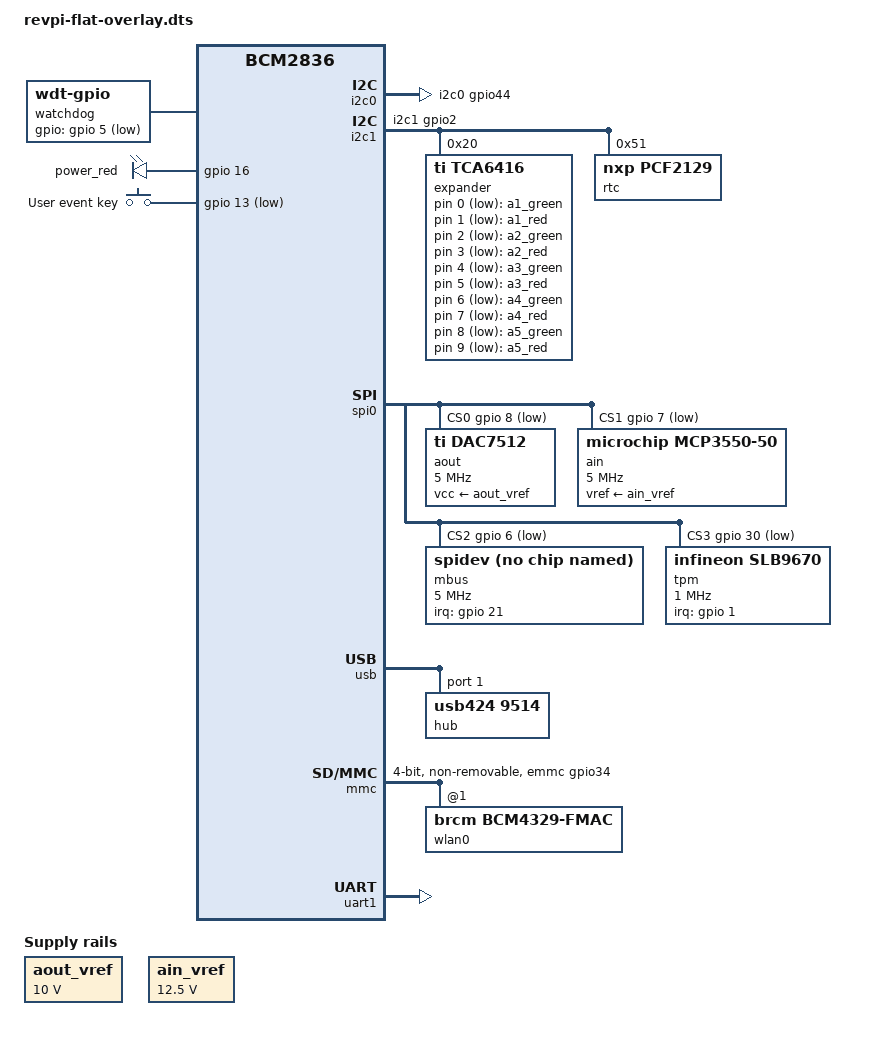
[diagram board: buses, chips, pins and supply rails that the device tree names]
/*
 * Device tree overlay for Revolution Pi by KUNBUS
 *
 * RevPi Flat
 */

/dts-v1/;
/plugin/;
#include <dt-bindings/gpio/gpio.h>
#include <dt-bindings/input/input.h>
#include <dt-bindings/interrupt-controller/irq.h>
#include <dt-bindings/pinctrl/bcm2835.h>

/{
	compatible = "brcm,bcm2837";

	fragment@0 {
		target-path = "/";
		__overlay__ {
			compatible = "kunbus,revpi-flat", "brcm,bcm2837",
				     "brcm,bcm2836";

			aout_vref: fixedregulator_2v5x4 {
				compatible = "regulator-fixed";
				regulator-name = "2v5_x4_amplified";
				regulator-min-microvolt = <10000000>;
				regulator-max-microvolt = <10000000>;
				regulator-always-on;
			};

			ain_vref: fixedregulator_2v5x5 {
				compatible = "regulator-fixed";
				regulator-name = "2v5_x5_amplified";
				regulator-min-microvolt = <12500000>;
				regulator-max-microvolt = <12500000>;
				regulator-always-on;
			};

			watchdog: watchdog {
				pinctrl-names = "default";
				pinctrl-0 = <&watchdog_gpio4>;
				compatible = "linux,wdt-gpio";	  /* max6370 */
				gpios = <&gpio 5 GPIO_ACTIVE_LOW>;
				hw_algo = "toggle";
				hw_margin_ms = <55000>;		  /* <= 60 s */
			};

			leds {
				compatible = "gpio-leds";
				power_red {
					gpios = <&gpio 16 GPIO_ACTIVE_HIGH>;
					linux,default-trigger = "power_red";
				};
				a1_green {
					gpios = <&expander 0 GPIO_ACTIVE_LOW>;
					linux,default-trigger = "a1_green";
				};
				a1_red {
					gpios = <&expander 1 GPIO_ACTIVE_LOW>;
					linux,default-trigger = "a1_red";
				};
				a2_green {
					gpios = <&expander 2 GPIO_ACTIVE_LOW>;
					linux,default-trigger = "a2_green";
				};
				a2_red {
					gpios = <&expander 3 GPIO_ACTIVE_LOW>;
					linux,default-trigger = "a2_red";
				};
				a3_green {
					gpios = <&expander 4 GPIO_ACTIVE_LOW>;
					linux,default-trigger = "a3_green";
				};
				a3_red {
					gpios = <&expander 5 GPIO_ACTIVE_LOW>;
					linux,default-trigger = "a3_red";
				};
				a4_green {
					gpios = <&expander 6 GPIO_ACTIVE_LOW>;
					linux,default-trigger = "a4_green";
				};
				a4_red {
					gpios = <&expander 7 GPIO_ACTIVE_LOW>;
					linux,default-trigger = "a4_red";
				};
				a5_green {
					gpios = <&expander 8 GPIO_ACTIVE_LOW>;
					linux,default-trigger = "a5_green";
				};
				a5_red {
					gpios = <&expander 9 GPIO_ACTIVE_LOW>;
					linux,default-trigger = "a5_red";
				};
				led-act {
					status = "disabled";
				};
			};

			gpio-keys {
				compatible = "gpio-keys";
				pinctrl-names = "default";
				pinctrl-0 = <&button_pins>;
				user-event {
					label = "User event key";
					gpios = <&gpio 13 GPIO_ACTIVE_LOW>;
					linux,code = <KEY_UNKNOWN>;
				};
			};
		};
	};

	fragment@1 {
		target = <&gpio>;
		__overlay__ {
			pinctrl-names = "default";
			pinctrl-0 = <&relais_pins>;

			spi0_cs_pins {
				/* aout ain mbus tpm */
				brcm,pins     = <8 7 6 30>;
				brcm,function = <BCM2835_FSEL_GPIO_OUT>;
				brcm,pull     = <BCM2835_PUD_OFF>;
			};
			tpm_pins: tpm_pins {
				/* reset irq */
				brcm,pins     = <0 1>;
				brcm,function = <BCM2835_FSEL_GPIO_OUT
						 BCM2835_FSEL_GPIO_IN>;
				brcm,pull     = <BCM2835_PUD_OFF>;
			};
			mbus_pins: mbus_pins {
				/* irq */
				brcm,pins     = <21>;
				brcm,function = <BCM2835_FSEL_GPIO_IN>;
				brcm,pull     = <BCM2835_PUD_OFF>;
			};
			watchdog_gpio4: watchdog_pins {
				/* enable ping */
				brcm,pins     = <4 5>;
				brcm,function = <BCM2835_FSEL_GPIO_OUT>;
				brcm,pull     = <BCM2835_PUD_OFF>;
			};
			button_pins: button_pins {
				brcm,pins     = <13>;
				brcm,function = <BCM2835_FSEL_GPIO_IN>;
				brcm,pull     = <BCM2835_PUD_OFF>;
			};
			relais_pins: relais_pins {
				brcm,pins     = <19>;
				brcm,function = <BCM2835_FSEL_GPIO_OUT>;
				brcm,pull     = <BCM2835_PUD_OFF>;
			};
			rs485_0_pins: rs485_0_pins {
				/* tx rx rts */
				brcm,pins     = <14 15 17>;
				brcm,function = <BCM2835_FSEL_ALT0
						 BCM2835_FSEL_ALT0
						 BCM2835_FSEL_ALT3>;
				brcm,pull     = <BCM2835_PUD_DOWN
						 BCM2835_PUD_DOWN
						 BCM2835_PUD_DOWN>;
			};
			rs485_1_pins: rs485_1_pins {
				/* tx rx rts */
				brcm,pins     = <32 33 31>;
				brcm,function = <BCM2835_FSEL_ALT5
						 BCM2835_FSEL_ALT5
						 BCM2835_FSEL_ALT5>;
				brcm,pull     = <BCM2835_PUD_DOWN
						 BCM2835_PUD_DOWN
						 BCM2835_PUD_DOWN>;
			};
		};
	};

	fragment@2 {
		target = <&i2c0>;
		__overlay__ {
			#address-cells = <1>;
			#size-cells = <0>;
			pinctrl-names = "default";
			pinctrl-0 = <&i2c0_gpio44>;
			status = "okay";

			/* TODO: ksz8795 */
		};
	};

	fragment@3 {
		target = <&i2c1>;
		__overlay__ {
			#address-cells = <1>;
			#size-cells = <0>;
			pinctrl-names = "default";
			pinctrl-0 = <&i2c1_gpio2>;
			status = "okay";

			expander: gpio@20 {
				compatible = "ti,tca6416";
				reg = <0x20>;
				gpio-controller;
				#gpio-cells = <2>;
				status = "okay";
			};

			rtc@51 {
				compatible = "nxp,pcf2129";
				reg = <0x51>;
				status = "okay";
			};
		};
	};

	fragment@4 {
		target = <&spi0>;
		__overlay__ {
			#address-cells = <1>;
			#size-cells = <0>;
			cs-gpios = <&gpio  8 GPIO_ACTIVE_LOW>,
				   <&gpio  7 GPIO_ACTIVE_LOW>,
				   <&gpio  6 GPIO_ACTIVE_LOW>,
				   <&gpio 30 GPIO_ACTIVE_LOW>;
			pinctrl-names = "default";
			pinctrl-0 = <&spi0_pins &spi0_cs_pins>;
			status = "okay";

			aout: dac@0 {
				compatible = "ti,dac7512";
				reg = <0>;
				spi-max-frequency = <5000000>;  /* <= 30 MHz */
				spi-cpol;
				vcc-supply = <&aout_vref>;
				status = "okay";
			};

			ain: adc@1 {
				compatible = "microchip,mcp3550-50";
				reg = <1>;
				spi-max-frequency = <5000000>;   /* <= 5 MHz */
				vref-supply = <&ain_vref>;
				status = "okay";
			};

			mbus: rf@2 {
				compatible = "spidev", "ti,cc1101";
				pinctrl-names = "default";
				pinctrl-0 = <&mbus_pins>;
				reg = <2>;
				spi-max-frequency = <5000000>; /* <= 6.5 MHz */
				interrupt-parent = <&gpio>;
				#interrupt-cells = <2>;
				interrupts = <21 IRQ_TYPE_LEVEL_HIGH>;
				status = "okay";
			};

			tpm: tpm@3 {
				compatible = "infineon,slb9670";
				pinctrl-names = "default";
				pinctrl-0 = <&tpm_pins>;
				reg = <3>;
				spi-max-frequency = <1000000>;	/* <= 43 MHz */
				interrupt-parent = <&gpio>;
				#interrupt-cells = <2>;
				interrupts = <1 IRQ_TYPE_LEVEL_LOW>;
				status = "okay";
			};
		};
	};

	fragment@5 {
		target = <&spidev0>;
		__overlay__ {
			status = "disabled";
		};
	};

	fragment@6 {
		target = <&spidev1>;
		__overlay__ {
			status = "disabled";
		};
	};

	fragment@7 {
		target = <&usb>;
		__overlay__ {
			#address-cells = <1>;
			#size-cells = <0>;

			hub@1 {
				/* SMSC LAN9514 */
				compatible = "usb424,9514";
				reg = <1>;
				#address-cells = <1>;
				#size-cells = <0>;

				eth0: ethernet@1 {
					compatible = "usb424,ec00";
					reg = <1>;
				};

				eth1: ethernet@4 {
					/* SMSC LAN9500, attached to KSZ8795 */
					compatible = "usb424,9500";
					reg = <4>;
				};

				uart@5 {
					/* FTDI FT232R */
					compatible = "usb403,6001";
					reg = <5>;

					bluetooth {
						compatible = "brcm,bcm43438-bt";
						max-speed = <2000000>;
					};
				};
			};
		};
	};

	fragment@8 {
		target = <&mmc>;
		__overlay__ {
			#address-cells = <1>;
			#size-cells = <0>;
			pinctrl-names = "default";
			pinctrl-0 = <&emmc_gpio34>;
			status = "okay";
			bus-width = <4>;
			non-removable;
			max-frequency = <28000000>;

			wlan0: wifi@1 {
				reg = <1>;
				compatible = "brcm,bcm4329-fmac";
				status = "okay";
			};
		};
	};

	fragment@9 {
		target = <&uart0>;
		__overlay__ {
			linux,rs485-enabled-at-boot-time;
			pinctrl-names = "default";
			pinctrl-0 = <&rs485_0_pins>;
			rs485-term-gpios = <&expander 14 GPIO_ACTIVE_LOW>;
		};
	};

	fragment@10 {
		target = <&uart1>;
		__overlay__ {
			linux,rs485-enabled-at-boot-time;
			pinctrl-names = "default";
			pinctrl-0 = <&rs485_1_pins>;
			rs485-term-gpios = <&expander 15 GPIO_ACTIVE_LOW>;
			status = "okay";
		};
	};

	fragment@11 {
		target = <&fb>;
		__overlay__ {
			status = "disabled";
		};
	};

	fragment@12 {
		target-path = "/chosen";
		chosen_overlay: __overlay__ {
		};
	};

	__overrides__ {
		eth0_mac_hi = <&eth0>,"local-mac-address:0";
		eth0_mac_lo = <&eth0>,"local-mac-address;4";
		eth1_mac_hi = <&eth1>,"local-mac-address:0";
		eth1_mac_lo = <&eth1>,"local-mac-address;4";
		bootargs = <&chosen_overlay>,"bootargs";
	};
};
